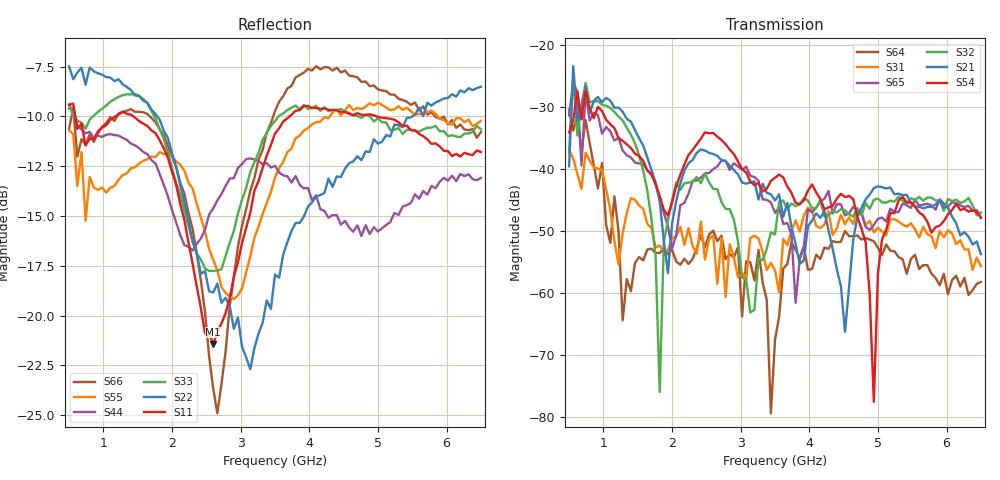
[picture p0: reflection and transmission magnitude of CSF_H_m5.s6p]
!Keysight Technologies,M9804A,MY58100912,A.14.10.03
!Date: Thursday, April 27, 2023 10:28:33
!Correction: S11(C  6-Port  )
!S12(C  6-Port  )
!S13(C  6-Port  )
!S14(C  6-Port  )
!S15(C  6-Port  )
!S16(C  6-Port  )
!S21(C  6-Port  )
!S22(C  6-Port  )
!S23(C  6-Port  )
!S24(C  6-Port  )
!S25(C  6-Port  )
!S26(C  6-Port  )
!S31(C  6-Port  )
!S32(C  6-Port  )
!S33(C  6-Port  )
!S34(C  6-Port  )
!S35(C  6-Port  )
!S36(C  6-Port  )
!S41(C  6-Port  )
!S42(C  6-Port  )
!S43(C  6-Port  )
!S44(C  6-Port  )
!S45(C  6-Port  )
!S46(C  6-Port  )
!S51(C  6-Port  )
!S52(C  6-Port  )
!S53(C  6-Port  )
!S54(C  6-Port  )
!S55(C  6-Port  )
!S56(C  6-Port  )
!S61(C  6-Port  )
!S62(C  6-Port  )
!S63(C  6-Port  )
!S64(C  6-Port  )
!S65(C  6-Port  )
!S66(C  6-Port  )
!S6P File: Measurement: :
# Hz S  RI  R 50
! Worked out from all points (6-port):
!   101 points, 500 MHz to 6.5 GHz, reference 50 ohm
!   strongest paths, dB at 500 MHz, 2 GHz, 3.5 GHz, 5 GHz, 6.5 GHz:
!     S54: -34.1, -45.4, -41.4, -56.8, -47.8
!     S21: -39.5, -48.8, -45.1, -42.8, -53.7
!     S32: -37.2, -45.0, -50.5, -44.7, -47.0
!     S65: -31.3, -52.8, -47.1, -48.0, -47.8
!     S31: -36.9, -51.1, -56.3, -49.5, -55.6
!     S64: -30.4, -53.0, -67.5, -52.7, -58.2
!   lowest |S11| = -21.4 dB at 2.6 GHz (marker M1), VSWR 1.19, Z = 42.5 + j2.17 ohm
!   |S11| at or under -10 dB: 590.2 MHz to 1.177 GHz (586.5 MHz wide, 66.4 % of centre); 1.435 GHz to 3.714 GHz (2.279 GHz wide, 88.5 % of centre); 4.977 GHz to end of sweep
